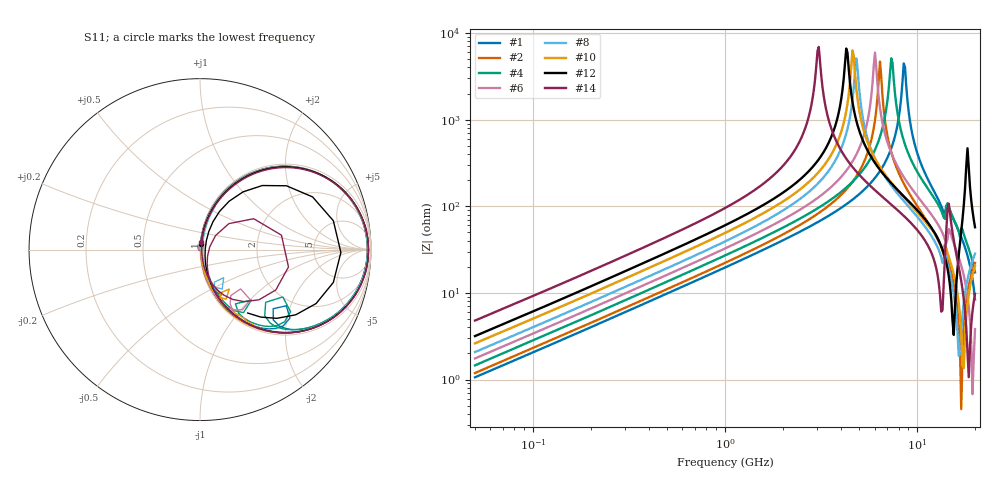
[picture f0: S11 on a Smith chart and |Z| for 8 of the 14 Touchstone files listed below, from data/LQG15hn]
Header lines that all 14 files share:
!These Parameters are Measured in Series Mode Connection
!  o--[Z]--o
!Port1  Port2
!  o-------o
!Freq. Start=50[MHz] Stop=20[GHz], 401[Steps]
# Hz S RI R 50
!Freq.(Hz) S11(Real) S11(Imag) S21(Real) S21(Imag) S12(Real) S12(Imag) S22(Real) S22(Imag)
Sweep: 50 MHz to 20 GHz
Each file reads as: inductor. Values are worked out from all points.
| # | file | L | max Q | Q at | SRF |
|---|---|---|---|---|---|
| 1 | LQG15HN3N6C02.s2p | 3.31 nH | 46.8 | 2.456 GHz | 8.516 GHz |
| 2 | LQG15HN3N9B02.s2p | 3.72 nH | 42.4 | 2.083 GHz | 6.407 GHz |
| 3 | LQG15HN4N3B02.s2p | 4.03 nH | 45.4 | 2.349 GHz | 8.389 GHz |
| 4 | LQG15HN4N7B02.s2p | 4.55 nH | 44.1 | 2.245 GHz | 7.331 GHz |
| 5 | LQG15HN5N1B02.s2p | 4.84 nH | 41.4 | 2.147 GHz | 6.802 GHz |
| 6 | LQG15HN5N6B02.s2p | 5.46 nH | 38.3 | 1.992 GHz | 5.944 GHz |
| 7 | LQG15HN6N2B02.s2p | 5.98 nH | 33.6 | 1.741 GHz | 4.82 GHz |
| 8 | LQG15HN6N8G02.s2p | 6.47 nH | 33.9 | 1.664 GHz | 4.82 GHz |
| 9 | LQG15HN7N5G02.s2p | 7.17 nH | 34.5 | 1.664 GHz | 4.967 GHz |
| 10 | LQG15HN8N2G02.s2p | 8.14 nH | 31.8 | 1.664 GHz | 4.608 GHz |
| 11 | LQG15HN9N1G02.s2p | 8.77 nH | 30.2 | 1.454 GHz | 4.027 GHz |
| 12 | LQG15HN10NG02.s2p | 9.88 nH | 31 | 1.498 GHz | 4.276 GHz |
| 13 | LQG15HN12NG02.s2p | 11.8 nH | 26.7 | 1.252 GHz | 3.415 GHz |
| 14 | LQG15HN15NG02.s2p | 14.9 nH | 24.7 | 1.162 GHz | 3.03 GHz |
